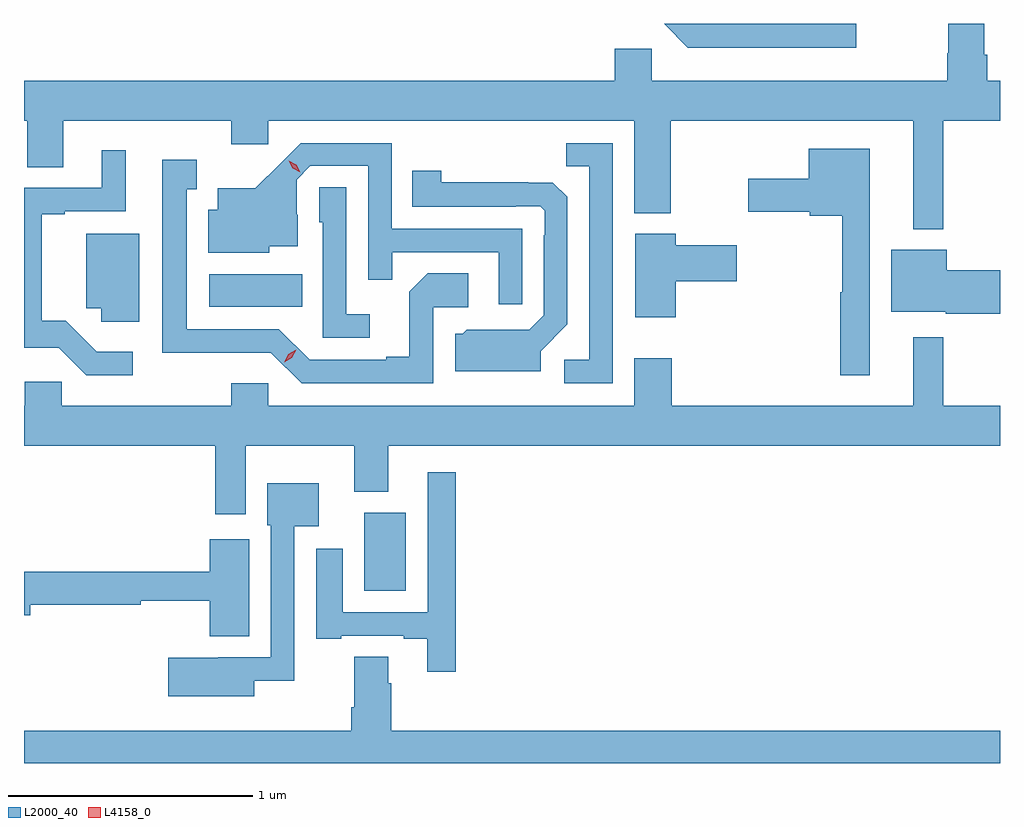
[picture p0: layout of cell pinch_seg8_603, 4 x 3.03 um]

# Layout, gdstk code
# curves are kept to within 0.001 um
import gdstk
lib = gdstk.Library(unit=1e-6, precision=1e-09)
def R(c, l, rs):  # rectangles x0, y0, x1, y1
    for r in rs: c.add(gdstk.rectangle(r[:2], r[2:], *l))
def P(c, l, *ps):  # polygons
    for p in ps: c.add(gdstk.Polygon(p, *l))
L2000_40 = (2000, 40)
L4158_0 = (4158, 0)

pinch_seg8_603 = lib.new_cell('pinch_seg8_603')
R(pinch_seg8_603, L2000_40, [(204.389,1082.606,204.559,1082.926), (203.754,1083.77,204.134,1083.904)])
P(pinch_seg8_603, L2000_40, [(206.761,1084.532),(206.994,1084.532),(206.994,1084.696),(206.942,1084.696),(206.942,1084.802),(206.929,1084.802),(206.929,1084.929),(206.782,1084.929),(206.782,1084.809),(206.777,1084.809),(206.777,1084.696),(205.566,1084.696),(205.566,1084.828),(205.415,1084.828),(205.415,1084.696),(202.994,1084.696),(202.994,1084.532),(203.008,1084.532),(203.008,1084.342),(203.155,1084.342),(203.155,1084.532),(203.843,1084.532),(203.843,1084.437),(203.994,1084.437),(203.994,1084.532),(205.496,1084.532),(205.496,1084.154),(205.644,1084.154),(205.644,1084.532),(206.639,1084.532),(206.639,1084.088),(206.761,1084.088)],
  [(206.404,1084.929),(205.617,1084.929),(205.714,1084.832),(206.404,1084.832)],
  [(205.407,1084.44),(205.216,1084.44),(205.216,1084.345),(205.311,1084.345),(205.311,1083.552),(205.209,1083.552),(205.209,1083.456),(205.407,1083.456)],
  [(205.035,1084.089),(204.501,1084.089),(204.501,1084.44),(204.128,1084.44),(203.941,1084.255),(203.789,1084.255),(203.789,1084.168),(203.75,1084.168),(203.75,1083.992),(204,1083.992),(204,1084.019),(204.115,1084.019),(204.115,1084.148),(204.111,1084.148),(204.111,1084.29),(204.168,1084.347),(204.405,1084.347),(204.405,1083.88),(204.503,1083.88),(204.503,1083.993),(204.939,1083.993),(204.939,1083.78),(205.035,1083.78)],
  [(206.461,1084.417),(206.21,1084.417),(206.21,1084.294),(205.962,1084.294),(205.962,1084.16),(206.214,1084.16),(206.214,1084.142),(206.347,1084.142),(206.347,1083.83),(206.34,1083.83),(206.34,1083.489),(206.461,1083.489)],
  [(203.44,1083.585),(203.292,1083.585),(203.165,1083.712),(203.066,1083.712),(203.066,1084.149),(203.161,1084.149),(203.161,1084.161),(203.41,1084.161),(203.41,1084.411),(203.312,1084.411),(203.312,1084.257),(202.994,1084.257),(202.994,1083.602),(203.137,1083.602),(203.25,1083.489),(203.44,1083.489)],
  [(204.672,1083.768),(204.814,1083.768),(204.814,1083.908),(204.649,1083.908),(204.573,1083.832),(204.573,1083.565),(204.479,1083.565),(204.479,1083.552),(204.165,1083.552),(204.039,1083.678),(203.662,1083.678),(203.662,1084.251),(203.701,1084.251),(203.701,1084.372),(203.561,1084.372),(203.561,1083.581),(204.006,1083.582),(204.132,1083.456),(204.672,1083.456)],
  [(205.111,1083.588),(205.221,1083.698),(205.221,1084.22),(205.162,1084.279),(204.705,1084.28),(204.705,1084.327),(204.586,1084.327),(204.586,1084.179),(205.01,1084.179),(205.01,1084.182),(205.11,1084.182),(205.128,1084.164),(205.128,1084.064),(205.125,1084.064),(205.125,1083.735),(205.065,1083.675),(204.808,1083.676),(204.792,1083.66),(204.761,1083.66),(204.761,1083.506),(205.111,1083.506)],
  [(204.412,1083.739),(204.315,1083.739),(204.315,1084.259),(204.204,1084.259),(204.204,1084.116),(204.219,1084.116),(204.219,1083.642),(204.412,1083.642)],
  [(203.467,1084.069),(203.249,1084.069),(203.249,1083.764),(203.31,1083.764),(203.31,1083.708),(203.467,1083.708)],
  [(205.666,1083.875),(205.915,1083.875),(205.915,1084.022),(205.666,1084.022),(205.666,1084.069),(205.499,1084.069),(205.499,1083.726),(205.666,1083.726)],
  [(206.994,1083.92),(206.776,1083.92),(206.776,1084.003),(206.549,1084.003),(206.549,1083.749),(206.772,1083.749),(206.772,1083.742),(206.994,1083.742)],
  [(203.902,1083.2),(204.347,1083.2),(204.347,1083.011),(204.487,1083.011),(204.487,1083.2),(206.994,1083.2),(206.994,1083.364),(206.761,1083.364),(206.761,1083.646),(206.639,1083.646),(206.639,1083.364),(205.649,1083.364),(205.649,1083.559),(205.496,1083.559),(205.496,1083.364),(203.994,1083.364),(203.994,1083.457),(203.843,1083.457),(203.843,1083.364),(203.149,1083.364),(203.149,1083.462),(202.997,1083.462),(202.997,1083.364),(202.994,1083.364),(202.994,1083.2),(203.777,1083.2),(203.777,1082.919),(203.902,1082.919)],
  [(204.764,1083.091),(204.648,1083.091),(204.648,1082.517),(204.301,1082.517),(204.301,1082.779),(204.191,1082.779),(204.191,1082.409),(204.295,1082.409),(204.295,1082.421),(204.551,1082.421),(204.551,1082.409),(204.647,1082.409),(204.647,1082.274),(204.764,1082.274)],
  [(203.938,1082.237),(204.102,1082.237),(204.102,1082.87),(204.202,1082.87),(204.202,1083.046),(203.99,1083.046),(203.99,1082.874),(204.006,1082.874),(204.006,1082.334),(203.79,1082.334),(203.79,1082.332),(203.586,1082.332),(203.586,1082.174),(203.938,1082.174)],
  [(203.917,1082.818),(203.756,1082.818),(203.756,1082.684),(202.994,1082.684),(202.994,1082.506),(203.02,1082.506),(203.02,1082.548),(203.472,1082.548),(203.472,1082.566),(203.756,1082.566),(203.756,1082.419),(203.917,1082.419)],
  [(206.994,1082.032),(204.5,1082.032),(204.5,1082.228),(204.487,1082.228),(204.487,1082.336),(204.347,1082.336),(204.347,1082.128),(204.335,1082.128),(204.335,1082.032),(202.994,1082.032),(202.994,1081.9),(206.994,1081.9)])
P(pinch_seg8_603, L4158_0, [(204.126,1084.322),(204.096,1084.338),(204.079,1084.368),(204.079,1084.368),(204.079,1084.368),(204.11,1084.352),(204.127,1084.322),(204.127,1084.322)],
  [(204.06,1083.542),(204.06,1083.542),(204.078,1083.575),(204.109,1083.594),(204.11,1083.594),(204.11,1083.594),(204.092,1083.561),(204.06,1083.542)])

lib.write_gds('pinch_seg8_603.gds')
